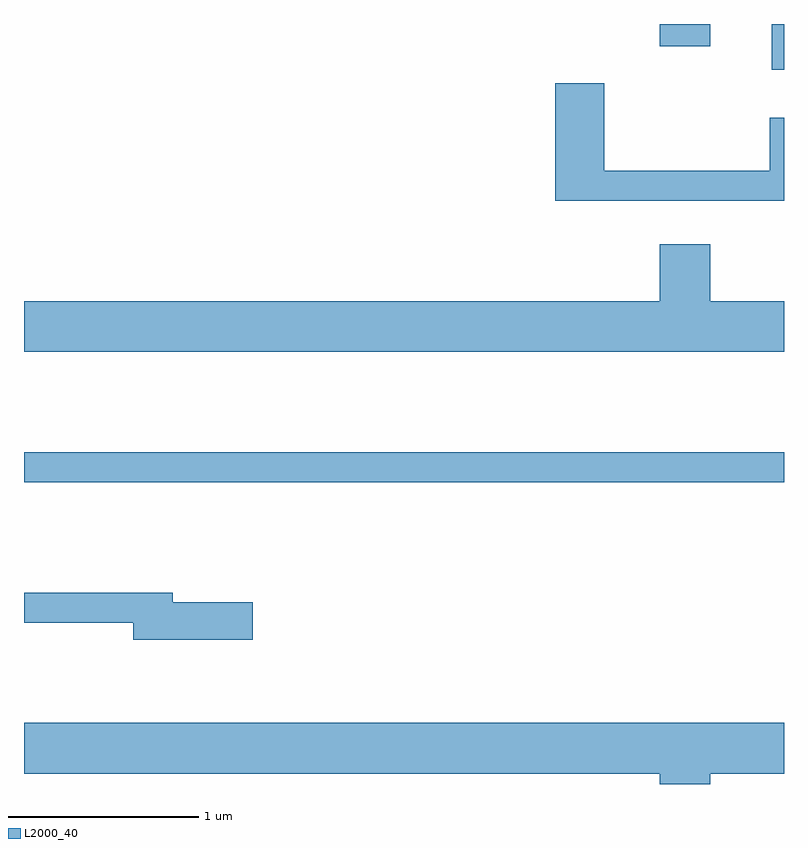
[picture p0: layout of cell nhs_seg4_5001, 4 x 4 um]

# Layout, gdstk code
import gdstk
lib = gdstk.Library(unit=1e-6, precision=1e-09)
def R(c, l, rs):  # rectangles x0, y0, x1, y1
    for r in rs: c.add(gdstk.rectangle(r[:2], r[2:], *l))
def P(c, l, *ps):  # polygons
    for p in ps: c.add(gdstk.Polygon(p, *l))
L2000_40 = (2000, 40)

nhs_seg4_5001 = lib.new_cell('nhs_seg4_5001')
R(nhs_seg4_5001, L2000_40, [(331.611,1329.571,335.611,1329.729), (335.546,1331.741,335.611,1331.982), (334.956,1331.866,335.224,1331.982)])
P(nhs_seg4_5001, L2000_40, [(335.611,1331.489),(335.536,1331.489),(335.536,1331.209),(334.664,1331.209),(334.664,1331.669),(334.406,1331.669),(334.406,1331.051),(335.611,1331.051)],
  [(335.611,1330.524),(335.224,1330.524),(335.224,1330.824),(334.956,1330.824),(334.956,1330.524),(331.611,1330.524),(331.611,1330.256),(335.611,1330.256)],
  [(332.814,1328.939),(332.394,1328.939),(332.394,1328.989),(331.611,1328.989),(331.611,1328.831),(332.186,1328.831),(332.186,1328.741),(332.814,1328.741)],
  [(335.224,1328.036),(335.611,1328.036),(335.611,1328.304),(331.611,1328.304),(331.611,1328.036),(334.956,1328.036),(334.956,1327.982),(335.224,1327.982)])

lib.write_gds('nhs_seg4_5001.gds')
